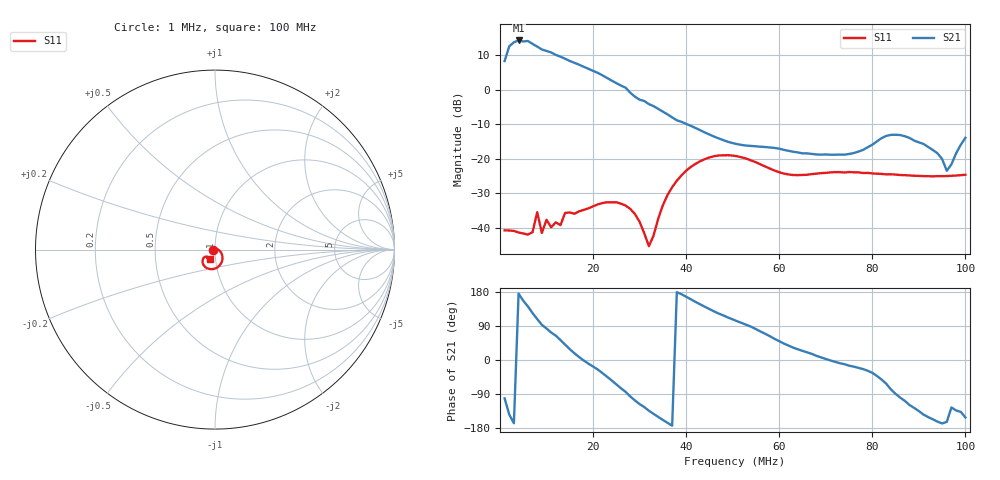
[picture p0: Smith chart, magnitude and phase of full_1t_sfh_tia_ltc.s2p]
# HZ S RI R 50
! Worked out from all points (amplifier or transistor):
!   100 points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, 1 MHz to 100 MHz, reference 50 ohm
!   highest |S21| = 14.3 dB at 4 MHz (marker M1)
!   |S21| within 3 dB of that: 1.694 MHz to 9.903 MHz (8.209 MHz wide, 142 % of centre)
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1000001  -0.00915 -0.000129  -0.5067 -2.559  0 0  0 0
2000001  -0.00911 -7.5e-05  -3.459 -2.51  0 0  0 0
3000001  -0.00891 -0.00117  -4.766 -1.109  0 0  0 0
4000001  -0.0084 -0.00137  -5.173 0.4295  0 0  0 0
6000001  -0.00753 -0.00258  -3.991 3.182  0 0  0 0
7000001  -0.00786 -0.00348  -2.581 3.839  0 0  0 0
8000001  -0.0146 -0.00836  -1.312 4.026  0 0  0 0
9000001  -0.00777 -0.00317  -0.192 3.838  0 0  0 0
1.1e7  -0.00776 -0.00652  1.045 3.318  0 0  0 0
1.3e7  -0.0078 -0.00761  1.835 2.4  0 0  0 0
1.5e7  -0.0125 -0.011  2.295 1.257  0 0  0 0
1.8e7  -0.0119 -0.0137  2.153 -0.0469  0 0  0 0
2.2e7  -0.018 -0.0139  1.339 -0.9158  0 0  0 0
2.5e7  -0.0213 -0.0096  0.5413 -1.125  0 0  0 0
3.2e7  -0.000722 0.00535  -0.4292 -0.4465  0 0  0 0
3.4e7  0.0134 0.00195  -0.4592 -0.2623  0 0  0 0
4.1e7  0.0391 -0.0654  -0.2828 0.1014  0 0  0 0
5.1e7  -0.0617 -0.0892  -0.034 0.159  0 0  0 0
6.7e7  -0.0381 -0.0463  0.1128 0.0327  0 0  0 0
8.4e7  -0.0389 -0.045  0.0476 -0.217  0 0  0 0
9.6e7  -0.0288 -0.0482  -0.064 -0.0193  0 0  0 0
1e8  -0.0271 -0.052  -0.1771 -0.0957  0 0  0 0
